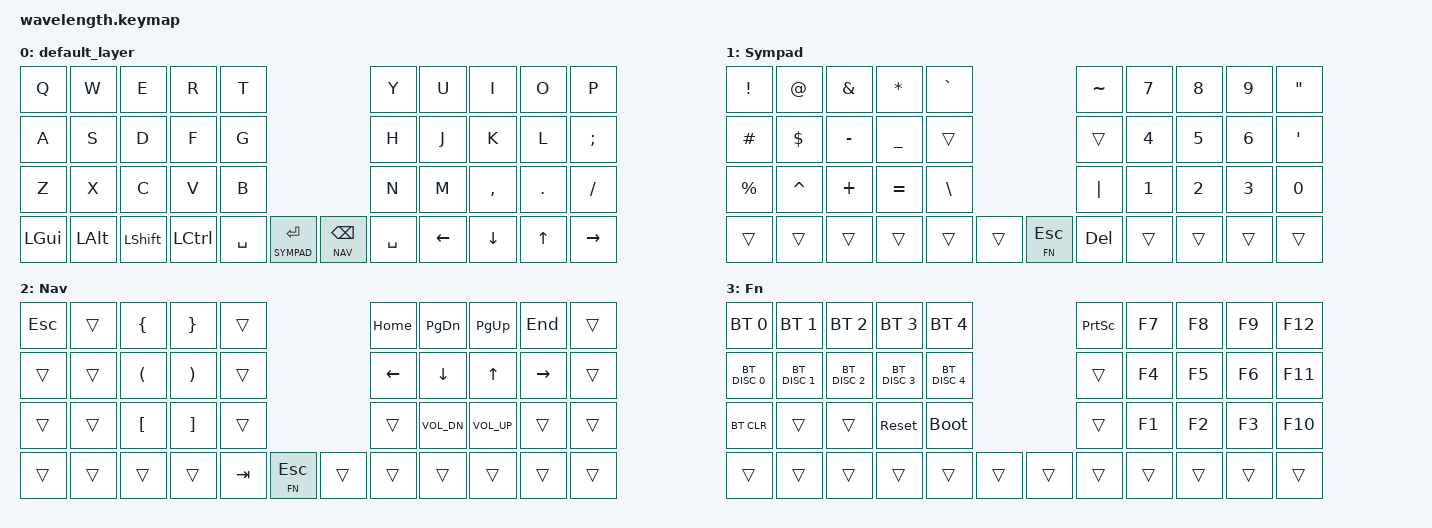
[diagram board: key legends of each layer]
// This file was generated from a template. Edit it to match your keyboard.
// See https://zmk.dev/docs/development/hardware-integration/new-shield for more instructions.

#include <behaviors.dtsi>
#include <dt-bindings/zmk/keys.h>
#include <dt-bindings/zmk/bt.h>

#define BASE 0
#define SYMPAD 1
#define NAV 2
#define FN 3


&lt {
    quick-tap-ms = <150>;
};

/ {
    // Define a default keymap here.
    // See https://zmk.dev/docs/development/hardware-integration/new-shield#default-keymap.
    keymap {
        compatible = "zmk,keymap";

        default_layer {
            bindings = <
&kp Q    &kp W    &kp E     &kp R     &kp T                                  &kp Y        &kp U    &kp I     &kp O   &kp P
&kp A    &kp S    &kp D     &kp F     &kp G                                  &kp H        &kp J    &kp K     &kp L   &kp SEMI
&kp Z    &kp X    &kp C     &kp V     &kp B                                  &kp N        &kp M    &kp COMMA &kp DOT &kp FSLH
&kp LGUI &kp LALT &kp LSHFT &kp LCTRL &kp SPACE  &lt SYMPAD RET &lt NAV BSPC &kp SPACE    &kp LEFT &kp DOWN  &kp UP  &kp RIGHT
            >;
        };

        sympad {
            display-name = "Sympad";
            bindings = <
&kp EXCL    &kp AT     &kp AMPS  &kp STAR  &kp GRAVE                        &kp TILDE &kp N7 &kp N8 &kp N9 &kp DQT
&kp HASH    &kp DOLLAR &kp MINUS &kp UNDER &trans                           &trans    &kp N4 &kp N5 &kp N6 &kp SQT
&kp PERCENT &kp CARET  &kp PLUS  &kp EQUAL &kp BACKSLASH                    &kp PIPE  &kp N1 &kp N2 &kp N3 &kp N0
&trans      &trans     &trans    &trans    &trans        &trans &lt FN ESC  &kp DEL  &trans &trans &trans &trans
            >;
        };

        nav {
            display-name = "Nav";
            bindings = <
&kp ESC      &trans       &kp LBRC     &kp RBRC     &trans                       &kp HOME &kp PG_DN    &kp PG_UP    &kp END   &trans
&trans       &trans       &kp LPAR     &kp RPAR     &trans                       &kp LEFT &kp DOWN     &kp UP       &kp RIGHT &trans
&trans       &trans       &kp LBKT     &kp RBKT     &trans                       &trans   &kp C_VOL_DN &kp C_VOL_UP &trans    &trans
&trans       &trans       &trans       &trans       &kp TAB  &lt FN ESC  &trans  &trans   &trans       &trans       &trans    &trans
            >;
        };
        fn {
            display-name = "Fn";
            bindings = <
&bt BT_SEL 0  &bt BT_SEL 1  &bt BT_SEL 2  &bt BT_SEL 3  &bt BT_SEL 4                  &kp PSCRN &kp F7 &kp F8 &kp F9 &kp F12
&bt BT_DISC 0 &bt BT_DISC 1 &bt BT_DISC 2 &bt BT_DISC 3 &bt BT_DISC 4                 &trans    &kp F4 &kp F5 &kp F6 &kp F11
&bt BT_CLR    &trans        &trans        &sys_reset    &bootloader                   &trans    &kp F1 &kp F2 &kp F3 &kp F10
&trans        &trans        &trans        &trans        &trans        &trans &trans   &trans    &trans &trans &trans &trans
            >;
        };
    };
};
